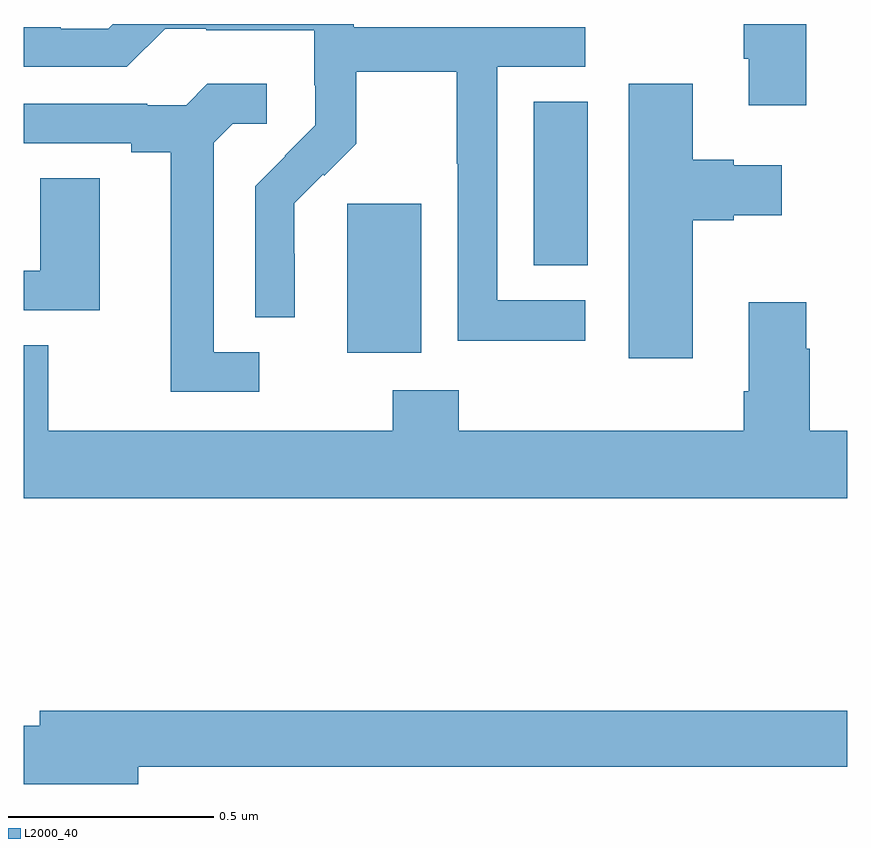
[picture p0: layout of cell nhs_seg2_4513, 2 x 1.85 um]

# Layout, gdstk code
import gdstk
lib = gdstk.Library(unit=1e-6, precision=1e-09)
def R(c, l, rs):  # rectangles x0, y0, x1, y1
    for r in rs: c.add(gdstk.rectangle(r[:2], r[2:], *l))
def P(c, l, *ps):  # polygons
    for p in ps: c.add(gdstk.Polygon(p, *l))
L2000_40 = (2000, 40)

nhs_seg2_4513 = lib.new_cell('nhs_seg2_4513')
R(nhs_seg2_4513, L2000_40, [(167.786,636.002,167.965,636.363), (168.239,636.214,168.37,636.611)])
P(nhs_seg2_4513, L2000_40, [(168.901,636.8),(168.749,636.8),(168.749,636.715),(168.761,636.715),(168.761,636.603),(168.901,636.603)],
  [(168.364,636.129),(168.15,636.129),(168.15,636.696),(168.364,636.696),(168.364,636.792),(167.802,636.792),(167.802,636.8),(167.216,636.8),(167.205,636.789),(167.09,636.789),(167.09,636.792),(167,636.792),(167,636.696),(167.25,636.696),(167.343,636.789),(167.443,636.789),(167.443,636.785),(167.706,636.785),(167.706,636.651),(167.708,636.651),(167.708,636.554),(167.634,636.48),(167.635,636.479),(167.562,636.406),(167.562,636.088),(167.658,636.088),(167.658,636.242),(167.657,636.242),(167.657,636.365),(167.727,636.435),(167.73,636.432),(167.807,636.509),(167.807,636.684),(168.052,636.684),(168.052,636.46),(168.054,636.46),(168.054,636.031),(168.364,636.031)],
  [(168.625,636.323),(168.725,636.323),(168.725,636.335),(168.841,636.335),(168.841,636.457),(168.725,636.457),(168.725,636.47),(168.625,636.47),(168.625,636.655),(168.47,636.655),(168.47,635.988),(168.625,635.988)],
  [(167.572,636.003),(167.461,636.003),(167.461,636.511),(167.508,636.558),(167.59,636.558),(167.59,636.655),(167.446,636.655),(167.394,636.603),(167.3,636.603),(167.3,636.606),(167,636.606),(167,636.51),(167.261,636.51),(167.261,636.488),(167.357,636.488),(167.357,635.907),(167.572,635.907)],
  [(167.185,636.425),(167.04,636.425),(167.04,636.201),(167,636.201),(167,636.105),(167.185,636.105)],
  [(169,635.812),(168.909,635.812),(168.909,636.011),(168.901,636.011),(168.901,636.124),(168.761,636.124),(168.761,635.908),(168.749,635.908),(168.749,635.812),(168.056,635.812),(168.056,635.911),(167.896,635.911),(167.896,635.812),(167.059,635.812),(167.059,636.02),(167,636.02),(167,635.648),(169,635.648)],
  [(167.278,634.996),(169,634.996),(169,635.132),(167.039,635.132),(167.039,635.096),(167,635.096),(167,634.954),(167.278,634.954)])

lib.write_gds('nhs_seg2_4513.gds')
